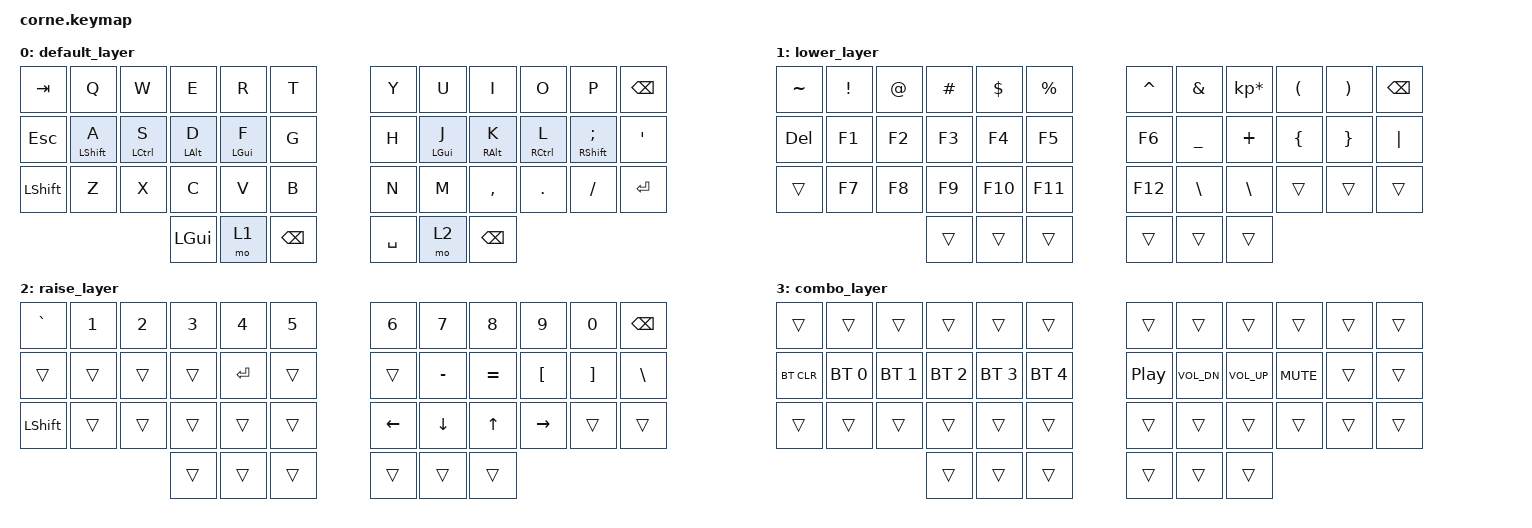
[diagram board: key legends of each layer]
/*
 * Copyright (c) 2020 The ZMK Contributors
 *
 * SPDX-License-Identifier: MIT
 */

#include <behaviors.dtsi>
#include <dt-bindings/zmk/bt.h>
#include <dt-bindings/zmk/keys.h>




/ {
    behaviors {
        hm: homerow_mods {
            compatible = "zmk,behavior-hold-tap";
            #binding-cells = <2>;
            tapping-term-ms = <150>;
            quick-tap-ms = <0>;
            flavor = "tap-preferred";
            bindings = <&kp>, <&kp>;
        };
    };

    conditional_layers {
        compatible = "zmk,conditional-layers";

        combo_layer {
            if-layers = <1 2>;
            then-layer = <3>;
        };
    };

    keymap {
        compatible = "zmk,keymap";

        default_layer {
            bindings = <
&kp TAB    &kp Q            &kp W       &kp E       &kp R       &kp T                           &kp Y       &kp U       &kp I       &kp O       &kp P           &kp BSPC
&kp ESC    &hm LSHIFT A     &hm LCTRL S &hm LALT D  &hm LGUI F  &kp G                           &kp H       &hm LGUI J  &hm RALT K  &hm RCTRL L &hm RSHIFT SEMI &kp SQT
&kp LSHFT  &kp Z            &kp X       &kp C       &kp V       &kp B                           &kp N       &kp M       &kp COMMA   &kp DOT     &kp FSLH        &kp ENTER
                                        &kp LGUI   &mo 1       &kp BSPC                       &kp SPACE    &mo 2       &kp BKSP
            >;
        };

        lower_layer {
            bindings = <
&kp TILDE   &kp EXCL        &kp AT      &kp HASH    &kp DLLR    &kp PRCNT                       &kp CARET   &kp AMPS    &kp KP_MULTIPLY     &kp LPAR    &kp RPAR    &kp BSPC
&kp DEL     &kp F1          &kp F2      &kp F3      &kp F4      &kp F5                          &kp F6      &kp UNDER   &kp PLUS            &kp LBRC    &kp RBRC    &kp PIPE
&trans      &kp F7          &kp F8      &kp F9      &kp F10     &kp F11                         &kp F12     &kp BSLH    &kp BSLH            &trans      &trans      &trans
                                        &trans      &trans      &trans                          &trans      &trans      &trans
            >;
        };

        raise_layer {
            bindings = <
&kp GRAVE   &kp N1      &kp N2      &kp N3      &kp N4      &kp N5                              &kp N6      &kp N7          &kp N8          &kp N9      &kp N0      &kp BSPC
&trans      &trans      &trans      &trans      &kp ENTER   &trans                              &trans      &kp MINUS       &kp EQUAL       &kp LBKT    &kp RBKT    &kp BSLH
&kp LSHFT   &trans      &trans      &trans      &trans      &trans                              &kp LEFT    &kp DOWN        &kp UP          &kp RIGHT   &trans      &trans
                                    &trans      &trans      &trans                              &trans      &trans          &trans
            >;
        };

        combo_layer {
            bindings = <
&trans      &trans          &trans          &trans          &trans          &trans              &trans      &trans          &trans          &trans      &trans      &trans
&bt BT_CLR  &bt BT_SEL 0    &bt BT_SEL 1    &bt BT_SEL 2    &bt BT_SEL 3    &bt BT_SEL 4        &kp C_PP    &kp C_VOL_DN    &kp C_VOL_UP    &kp C_MUTE  &trans      &trans
&trans      &trans          &trans          &trans          &trans          &trans              &trans      &trans          &trans          &trans      &trans      &trans
                                            &trans          &trans          &trans              &trans      &trans          &trans
            >;
        };
    };
};
